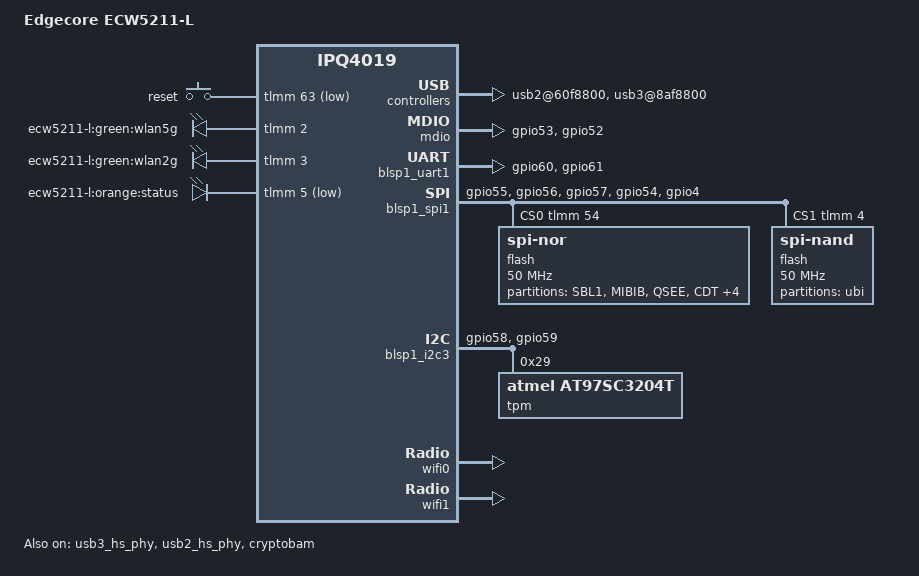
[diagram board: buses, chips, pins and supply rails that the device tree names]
// SPDX-License-Identifier: GPL-2.0-or-later OR MIT

#include "qcom-ipq4019.dtsi"
#include <dt-bindings/gpio/gpio.h>
#include <dt-bindings/input/input.h>
#include <dt-bindings/soc/qcom,tcsr.h>

/ {
	model = "Edgecore ECW5211-L";
	compatible = "edgecore,ecw5211-l";

	aliases {
		led-boot = &led_status;
		led-failsafe = &led_status;
		led-running = &led_status;
		led-upgrade = &led_status;
		label-mac-device = &gmac1;
	};

	soc {
		rng@22000 {
			status = "okay";
		};

		ess-psgmii@98000 {
			status = "okay";
		};

		counter@4a1000 {
			compatible = "qcom,qca-gcnt";
			reg = <0x4a1000 0x4>;
		};

		tcsr@1949000 {
			compatible = "qcom,tcsr";
			reg = <0x1949000 0x100>;
			qcom,wifi_glb_cfg = <TCSR_WIFI_GLB_CFG>;
		};

		tcsr@194b000 {
			compatible = "qcom,tcsr";
			reg = <0x194b000 0x100>;
			qcom,usb-hsphy-mode-select = <TCSR_USB_HSPHY_HOST_MODE>;
		};

		ess_tcsr@1953000 {
			compatible = "qcom,tcsr";
			reg = <0x1953000 0x1000>;
			qcom,ess-interface-select = <TCSR_ESS_PSGMII>;
		};

		tcsr@1957000 {
			compatible = "qcom,tcsr";
			reg = <0x1957000 0x100>;
			qcom,wifi_noc_memtype_m0_m2 = <TCSR_WIFI_NOC_MEMTYPE_M0_M2>;
		};

		usb2@60f8800 {
			status = "okay";
		};

		usb3@8af8800 {
			status = "okay";

			dwc3@8a00000 {
				#address-cells = <1>;
				#size-cells = <0>;
				phys = <&usb3_hs_phy>;
				phy-names = "usb2-phy";

				port@1 {
					reg = <1>;
					#trigger-source-cells = <0>;
				};
			};
		};

		crypto@8e3a000 {
			status = "okay";
		};

		watchdog@b017000 {
			status = "okay";
		};

		ess-switch@c000000 {
			status = "okay";

			switch_lan_bmp = <0x10>;
			switch_wan_bmp = <0x20>;
		};

		edma@c080000 {
			status = "okay";
		};
	};

	keys {
		compatible = "gpio-keys";

		reset {
			label = "reset";
			gpios = <&tlmm 63 GPIO_ACTIVE_LOW>;
			linux,code = <KEY_RESTART>;
		};
	};

	leds {
		compatible = "gpio-leds";

		wlan5g {
			label = "ecw5211-l:green:wlan5g";
			gpios = <&tlmm 2 GPIO_ACTIVE_HIGH>;
			linux,default-trigger = "phy1tpt";
		};

		wlan2g {
			label = "ecw5211-l:green:wlan2g";
			gpios = <&tlmm 3 GPIO_ACTIVE_HIGH>;
			linux,default-trigger = "phy0tpt";
		};

		led_status: status {
			label = "ecw5211-l:orange:status";
			gpios = <&tlmm 5 GPIO_ACTIVE_LOW>;
		};
	};
};

&mdio {
	status = "okay";

	pinctrl-0 = <&mdio_pins>;
	pinctrl-names = "default";
};

&usb3_hs_phy {
	status = "okay";
};

&usb2_hs_phy {
	status = "okay";
};

&tlmm {
	mdio_pins: mdio_pinmux {
		mux_mdio {
			pins = "gpio53";
			function = "mdio";
			bias-pull-up;
		};

		mux_mdc {
			pins = "gpio52";
			function = "mdc";
			bias-pull-up;
		};
	};

	spi_0_pins: spi_0_pinmux {
		mux_spi {
			pins = "gpio55", "gpio56", "gpio57";
			function = "blsp_spi0";
			drive-strength = <12>;
			bias-disable;
		};

		mux_cs {
			pins = "gpio54", "gpio4";
			function = "gpio";
			drive-strength = <2>;
			bias-disable;
			output-high;
		};
	};

	i2c_0_pins: i2c_0_pinmux {
		mux_i2c {
			pins = "gpio58", "gpio59";
			function = "blsp_i2c0";
			drive-strength = <16>;
			bias-disable;
		};
	};

	serial_pins: serial_pinmux {
		mux_uart {
			pins = "gpio60", "gpio61";
			function = "blsp_uart0";
			bias-disable;
		};
	};
};

&blsp_dma {
	status = "okay";
};

&blsp1_uart1 {
	status = "okay";

	pinctrl-0 = <&serial_pins>;
	pinctrl-names = "default";
};

&blsp1_spi1 {
	status = "okay";

	pinctrl-0 = <&spi_0_pins>;
	pinctrl-names = "default";
	cs-gpios = <&tlmm 54 GPIO_ACTIVE_HIGH>,
	           <&tlmm  4 GPIO_ACTIVE_HIGH>;

	flash@0 {
		/*
		 * U-boot looks for "n25q128a11" node,
		 * if we don't have it, it will spit out the following warning:
		 * "ipq: fdt fixup unable to find compatible node".
		 */
		compatible = "jedec,spi-nor";
		reg = <0>;
		spi-max-frequency = <50000000>;

		partitions {
			compatible = "fixed-partitions";
			#address-cells = <1>;
			#size-cells = <1>;

			partition@0 {
				label = "SBL1";
				reg = <0x0 0x40000>;
				read-only;
			};

			partition@40000 {
				label = "MIBIB";
				reg = <0x40000 0x20000>;
				read-only;
			};

			partition@60000 {
				label = "QSEE";
				reg = <0x60000 0x60000>;
				read-only;
			};

			partition@c0000 {
				label = "CDT";
				reg = <0xc0000 0x10000>;
				read-only;
			};

			partition@d0000 {
				label = "DDRPARAMS";
				reg = <0xd0000 0x10000>;
				read-only;
			};

			partition@e0000 {
				label = "APPSBLENV"; /* u-boot-env */
				reg = <0xe0000 0x10000>;
			};

			partition@f0000 {
				label = "APPSBL"; /* u-boot */
				reg = <0xf0000 0x80000>;
				read-only;
			};

			art: partition@170000 {
				label = "ART";
				reg = <0x170000 0x10000>;
				read-only;
			};

			/* 0x180000 - 0x1000000 unused */
		};
	};

	flash@1 {
		/*
		 * U-boot looks for "spinand,mt29f" node,
		 * if we don't have it, it will spit out the following warning:
		 * "ipq: fdt fixup unable to find compatible node".
		 */
		compatible = "spi-nand";
		reg = <1>;
		spi-max-frequency = <50000000>;

		partitions {
			compatible = "fixed-partitions";
			#address-cells = <1>;
			#size-cells = <1>;

			partition@0 {
				label = "ubi";
				reg = <0x0 0x8000000>;
			};
		};
	};
};

&blsp1_i2c3 {
	status = "okay";

	pinctrl-0 = <&i2c_0_pins>;
	pinctrl-names = "default";

	tpm@29 {
		compatible = "atmel,at97sc3204t";
		reg = <0x29>;
	};
};

&cryptobam {
	status = "okay";
};

&wifi0 {
	status = "okay";
};

&wifi1 {
	status = "okay";
	qcom,ath10k-calibration-variant = "ALFA-Network-AP120C-AC";
};

&gmac0 {
	qcom,phy_mdio_addr = <3>;
	qcom,poll_required = <1>;
	qcom,forced_speed = <1000>;
	qcom,forced_duplex = <1>;
	vlan_tag = <1 0x10>;
	mtd-mac-address = <&art 0x6>;
};

&gmac1 {
	mtd-mac-address = <&art 0x0>;
};
